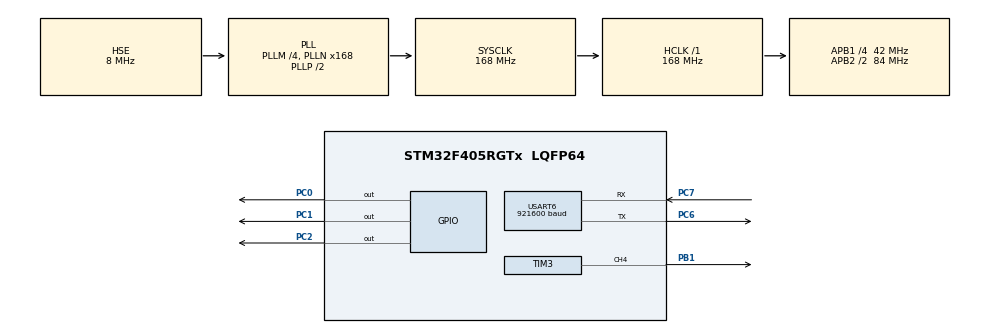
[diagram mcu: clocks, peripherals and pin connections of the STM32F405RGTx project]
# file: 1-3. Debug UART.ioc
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Mcu.Family=STM32F4
Mcu.Name=STM32F405RGTx
Mcu.Package=LQFP64
NVIC.PriorityGroup=NVIC_PRIORITYGROUP_4
NVIC.USART6_IRQn=true\:0\:0\:false\:false\:true\:true\:true
PB1.Signal=S_TIM3_CH4
PC0.Signal=GPIO_Output
PC1.Signal=GPIO_Output
PC2.Signal=GPIO_Output
PC6.Mode=Asynchronous
PC6.Signal=USART6_TX
PC7.Mode=Asynchronous
PC7.Signal=USART6_RX
PH0-OSC_IN.Mode=HSE-External-Oscillator
PH0-OSC_IN.Signal=RCC_OSC_IN
PH1-OSC_OUT.Mode=HSE-External-Oscillator
PH1-OSC_OUT.Signal=RCC_OSC_OUT
ProjectManager.HeapSize=0x200
ProjectManager.StackSize=0x400
ProjectManager.TargetToolchain=STM32CubeIDE
RCC.48MHZClocksFreq_Value=84000000
RCC.AHBFreq_Value=168000000
RCC.APB1CLKDivider=RCC_HCLK_DIV4
RCC.APB1Freq_Value=42000000
RCC.APB1TimFreq_Value=84000000
RCC.APB2CLKDivider=RCC_HCLK_DIV2
RCC.APB2Freq_Value=84000000
RCC.APB2TimFreq_Value=168000000
RCC.CortexFreq_Value=168000000
RCC.HCLKFreq_Value=168000000
RCC.HSE_VALUE=8000000
RCC.HSI_VALUE=16000000
RCC.LSE_VALUE=32768
RCC.PLLM=4
RCC.PLLN=168
RCC.PLLSourceVirtual=RCC_PLLSOURCE_HSE
RCC.SYSCLKFreq_VALUE=168000000
RCC.SYSCLKSource=RCC_SYSCLKSOURCE_PLLCLK
RCC.VCOOutputFreq_Value=336000000
SH.S_TIM3_CH4.0=TIM3_CH4,PWM Generation4 CH4
TIM3.AutoReloadPreload=TIM_AUTORELOAD_PRELOAD_ENABLE
TIM3.Channel-PWM\ Generation4\ CH4=TIM_CHANNEL_4
TIM3.OCFastMode_PWM-PWM\ Generation4\ CH4=TIM_OCFAST_ENABLE
TIM3.Period=21-1
TIM3.Prescaler=1000-1
TIM3.Pulse-PWM\ Generation4\ CH4=10
USART6.BaudRate=921600
USART6.VirtualMode=VM_ASYNC
VP_TIM3_VS_ClockSourceINT.Mode=Internal
board=custom

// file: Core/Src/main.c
/* USER CODE BEGIN Header */
/**
  ******************************************************************************
  * @file           : main.c
  * @brief          : Main program body
  ******************************************************************************
  * @attention
  *
  * <h2><center>&copy; Copyright (c) 2020 STMicroelectronics.
  * All rights reserved.</center></h2>
  *
  * This software component is licensed by ST under BSD 3-Clause license,
  * the "License"; You may not use this file except in compliance with the
  * License. You may obtain a copy of the License at:
  *                        opensource.org/licenses/BSD-3-Clause
  *
  ******************************************************************************
  */
/* USER CODE END Header */

#include "main.h"
#include "tim.h"
#include "usart.h"
#include "gpio.h"

/* USER CODE BEGIN PTD */
int _write(int file, char* p, int len)
{
	for(int i=0;i<len;i++)
	{
		LL_USART_TransmitData8(USART6,*(p+i));
		HAL_Delay(1);
	}
	return len;
}
/* USER CODE END PTD */

/* USER CODE BEGIN PV */
extern uint8_t	uart6_rx_flag;
extern uint8_t uart6_rx_data;
/* USER CODE END PV */

void SystemClock_Config(void);

int main(void)
{
  /* USER CODE BEGIN 1 */
	int count = 0;
	float f = 1.234;

  /* USER CODE END 1 */

  /* MCU Configuration--------------------------------------------------------*/

  /* Reset of all peripherals, Initializes the Flash interface and the Systick. */
  HAL_Init();

  /* Configure the system clock */
  SystemClock_Config();

  /* Initialize all configured peripherals */
  MX_GPIO_Init();
  MX_TIM3_Init();
  MX_USART6_UART_Init();
  /* USER CODE BEGIN 2 */
  LL_TIM_EnableCounter(TIM3);
  LL_TIM_CC_EnableChannel(TIM3, LL_TIM_CHANNEL_CH4);

  TIM3->PSC = 2000; // 2kHz
  HAL_Delay(100);
  TIM3->PSC=1500;  // 3kHz
  HAL_Delay(100);
  TIM3->PSC=1000; // 4kHz
  HAL_Delay(100);

  LL_TIM_CC_DisableChannel(TIM3, LL_TIM_CHANNEL_CH4);

  LL_USART_EnableIT_RXNE(USART6);

  /* USER CODE END 2 */

  /* Infinite loop */
  while (1)
  {

    /* USER CODE BEGIN 3 */
	  //HAL_GPIO_TogglePin(GPIOC, GPIO_PIN_0|GPIO_PIN_1|GPIO_PIN_2);
	  //LL_GPIO_TogglePin(GPIOC, LL_GPIO_PIN_0|LL_GPIO_PIN_1|LL_GPIO_PIN_2);
	  //LL_USART_TransmitData8(USART6,'A');
	  //HAL_Delay(1000);
//	  if(uart6_rx_flag == 1)
//	  {
//		  uart6_rx_flag = 0;
//		  LL_USART_TransmitData8(USART6,uart6_rx_data);
//
//		  switch(uart6_rx_data)
//		  {
//		  case '0':
//			  LL_GPIO_TogglePin(GPIOC, LL_GPIO_PIN_0|LL_GPIO_PIN_1|LL_GPIO_PIN_2);
//			  break;
//		  case '1':
//			  LL_TIM_CC_EnableChannel(TIM3, LL_TIM_CHANNEL_CH4);
//			  break;
//		  case '2':
//		  	  LL_TIM_CC_DisableChannel(TIM3, LL_TIM_CHANNEL_CH4);
//		  	  break;
//		  }
//	  }
	  //printf("Hello\n");
	  printf("%d %f\n",count++, f+=0.001);
	  HAL_Delay(1000);
  }
  /* USER CODE END 3 */
}

void SystemClock_Config(void)
{
  RCC_OscInitTypeDef RCC_OscInitStruct = {0};
  RCC_ClkInitTypeDef RCC_ClkInitStruct = {0};

  /** Configure the main internal regulator output voltage
  */
  __HAL_RCC_PWR_CLK_ENABLE();
  __HAL_PWR_VOLTAGESCALING_CONFIG(PWR_REGULATOR_VOLTAGE_SCALE1);
  /** Initializes the CPU, AHB and APB busses clocks
  */
  RCC_OscInitStruct.OscillatorType = RCC_OSCILLATORTYPE_HSE;
  RCC_OscInitStruct.HSEState = RCC_HSE_ON;
  RCC_OscInitStruct.PLL.PLLState = RCC_PLL_ON;
  RCC_OscInitStruct.PLL.PLLSource = RCC_PLLSOURCE_HSE;
  RCC_OscInitStruct.PLL.PLLM = 4;
  RCC_OscInitStruct.PLL.PLLN = 168;
  RCC_OscInitStruct.PLL.PLLP = RCC_PLLP_DIV2;
  RCC_OscInitStruct.PLL.PLLQ = 4;
  if (HAL_RCC_OscConfig(&RCC_OscInitStruct) != HAL_OK)
  {
    Error_Handler();
  }
  /** Initializes the CPU, AHB and APB busses clocks
  */
  RCC_ClkInitStruct.ClockType = RCC_CLOCKTYPE_HCLK|RCC_CLOCKTYPE_SYSCLK
                              |RCC_CLOCKTYPE_PCLK1|RCC_CLOCKTYPE_PCLK2;
  RCC_ClkInitStruct.SYSCLKSource = RCC_SYSCLKSOURCE_PLLCLK;
  RCC_ClkInitStruct.AHBCLKDivider = RCC_SYSCLK_DIV1;
  RCC_ClkInitStruct.APB1CLKDivider = RCC_HCLK_DIV4;
  RCC_ClkInitStruct.APB2CLKDivider = RCC_HCLK_DIV2;

  if (HAL_RCC_ClockConfig(&RCC_ClkInitStruct, FLASH_LATENCY_5) != HAL_OK)
  {
    Error_Handler();
  }
}

void Error_Handler(void)
{
}

/************************ (C) COPYRIGHT STMicroelectronics *****END OF FILE****/
